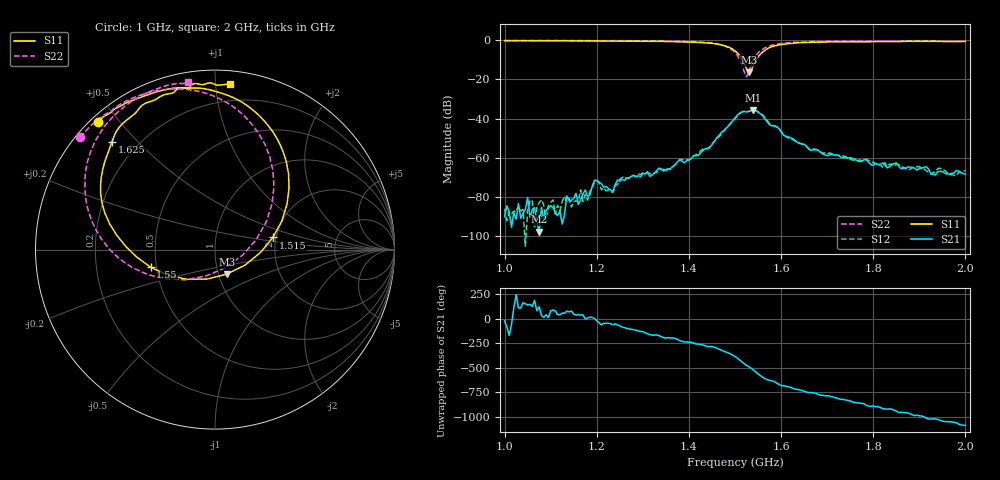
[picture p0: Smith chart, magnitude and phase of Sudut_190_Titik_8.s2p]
# Hz S RI R 50
! CMT, C1220, 16058040, 17.2.0/1
! Date: 14/08/2018 12:06:59
! Data: Format (Calibration Info)
! Freq  S11: Re/Im (F2)  S21: Re/Im (F2)  S12: Re/Im (F2)  S22: Re/Im (F2)
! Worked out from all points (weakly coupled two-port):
!   201 points, 1 GHz to 2 GHz, reference 50 ohm
!   highest |S21| = -35.74 dB at 1.54 GHz (marker M1); lowest = -97.6 dB at 1.075 GHz (marker M2)
!   lowest |S11| = -16.4 dB at 1.53 GHz (marker M3), VSWR 1.36, Z = 54.7 - j15.3 ohm
!   |S11| at or under -10 dB: 1.516 GHz to 1.546 GHz (30.42 MHz wide, 1.99 % of centre)
!   |S22| runs from -18.7 to -0.2 dB; largest |S21 - S12| = 0.00076
!   S11 on the Smith chart (normalised r, x): 1 GHz: 0.02, +0.44; 1.515 GHz: 1.92, +0.29; 1.55 GHz: 0.46, -0.11; 1.625 GHz: 0.11, +0.42; 2 GHz: 0.09, +1.09
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1e9  -0.6544 0.7097  2.89e-05 -1.36e-05  -2.42e-06 -5.05e-05  -0.7534 0.6256
1.075e9  -0.5782 0.7654  -6.49e-06 1.15e-05  2.67e-05 6.67e-05  -0.6999 0.6813
1.165e9  -0.4934 0.8184  7.01e-05 4.79e-05  0.000127 8.65e-05  -0.6217 0.7481
1.17e9  -0.4865 0.8214  9.47e-05 7.33e-05  7.81e-05 -1.15e-06  -0.6162 0.7514
1.185e9  -0.4628 0.8304  0.000108 2.78e-05  0.00013 4.31e-05  -0.599 0.7609
1.2e9  -0.4452 0.8365  0.000246 -9.82e-05  0.000239 -0.000123  -0.5822 0.765
1.235e9  -0.3978 0.8543  6.41e-05 -0.000126  8.76e-05 -9.79e-05  -0.5544 0.7929
1.26e9  -0.3565 0.8692  -1.4e-05 -0.000266  -4.34e-05 -0.000339  -0.522 0.8132
1.335e9  -0.2298 0.8995  -0.000545 -5.72e-05  -0.000509 -1.81e-05  -0.3997 0.866
1.42e9  0.035 0.8718  -0.000181 0.00115  -0.000231 0.00126  -0.1416 0.8904
1.465e9  0.2606 0.7321  0.0024 0.00285  0.00239 0.00249  0.1293 0.7752
1.5e9  0.4123 0.3394  0.00948 -0.00466  0.00885 -0.00432  0.3287 0.3523
1.515e9  0.3229 0.0679  0.00244 -0.0144  0.00285 -0.0145  0.2293 0.0554
1.525e9  0.1669 -0.0866  -0.00669 -0.0132  -0.00659 -0.0134  0.0583 -0.1009
1.53e9  0.0649 -0.1371  -0.00963 -0.0118  -0.00965 -0.0121  -0.0501 -0.1472
1.54e9  -0.1571 -0.1654  -0.0157 -0.00436  -0.0157 -0.00444  -0.2743 -0.1644
1.55e9  -0.3583 -0.0981  -0.0136 0.00591  -0.0138 0.00539  -0.4597 -0.1009
1.58e9  -0.6292 0.2573  0.000489 0.00654  0.000836 0.00682  -0.7063 0.2167
1.625e9  -0.574 0.5984  0.00306 0.000555  0.00286 0.000599  -0.7012 0.5213
1.67e9  -0.4619 0.7451  0.00129 -0.000946  0.00139 -0.000998  -0.6249 0.6732
1.835e9  -0.1605 0.8989  -0.00055 0.000212  -0.000647 0.000239  -0.3754 0.8746
2e9  0.0857 0.921  0.000385 -6.06e-05  0.000477 -5.58e-05  -0.1506 0.9334
